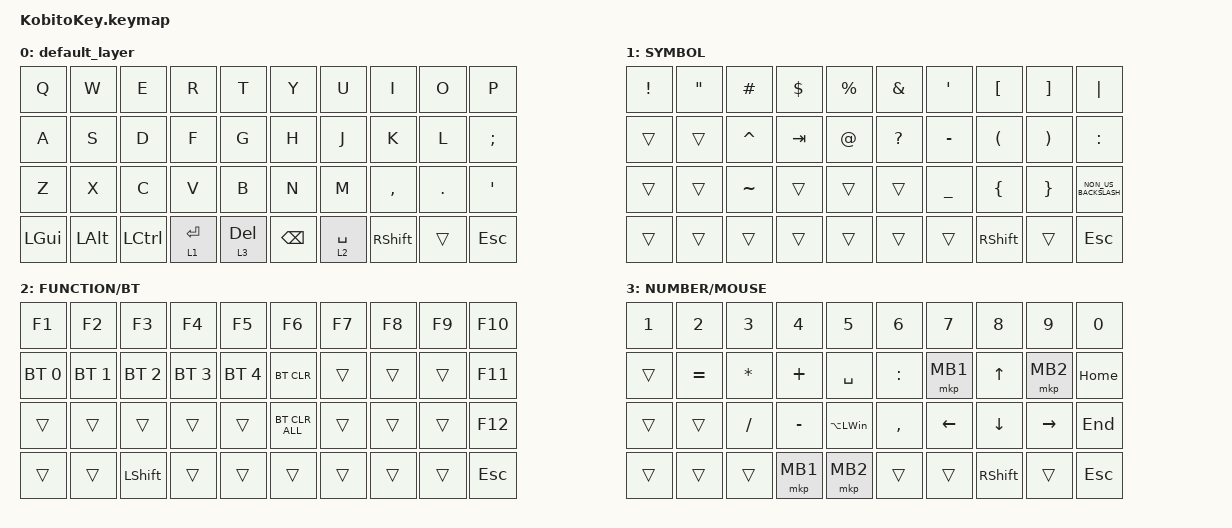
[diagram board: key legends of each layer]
#include <input/processors.dtsi>
#include <behaviors.dtsi>
#include <dt-bindings/zmk/bt.h>
#include <dt-bindings/zmk/keys.h>
#include <dt-bindings/zmk/pointing.h>

/ {
    combos {
        compatible = "zmk,combos";

        combo_eisu {
            timeout-ms = <50>;
            key-positions = <12 13>;
            bindings = <&kp LANG2>;
        };

        combo_kana {
            timeout-ms = <50>;
            key-positions = <16 17>;
            bindings = <&kp LANG1>;
        };

        combo_esc {
            timeout-ms = <50>;
            key-positions = <0 1>;
            bindings = <&kp ESC>;
        };

        combo_tab {
            timeout-ms = <50>;
            key-positions = <10 11>;
            bindings = <&kp TAB>;
        };
    };

    keymap {
        compatible = "zmk,keymap";

        default_layer {
            bindings = <
&kp Q         &kp W     &kp E      &kp R        &kp T         &kp Y     &kp U        &kp I      &kp O    &kp P
&kp A         &kp S     &kp D      &kp F        &kp G         &kp H     &kp J        &kp K      &kp L    &kp SEMI
&kp Z         &kp X     &kp C      &kp V        &kp B         &kp N     &kp M        &kp COMMA  &kp DOT  &kp APOS
&kp LEFT_GUI  &kp LALT  &kp LCTRL  &lt 1 ENTER  &lt 3 DELETE  &kp BSPC  &lt 2 SPACE  &kp RSHFT  &trans   &kp ESCAPE
            >;
        };

        layer1 {
            label = "SYMBOL";
            bindings = <
&kp EXCL  &kp DOUBLE_QUOTES  &kp HASH   &kp DOLLAR  &kp PERCENT  &kp AMPERSAND  &kp SQT         &kp LEFT_BRACKET      &kp RIGHT_BRACKET      &kp PIPE
&trans    &trans             &kp CARET  &kp TAB     &kp AT_SIGN  &kp QUESTION   &kp MINUS       &kp LEFT_PARENTHESIS  &kp RIGHT_PARENTHESIS  &kp COLON
&trans    &trans             &kp TILDE  &trans      &trans       &trans         &kp UNDERSCORE  &kp LEFT_BRACE        &kp RIGHT_BRACE        &kp NON_US_BACKSLASH
&trans    &trans             &trans     &trans      &trans       &trans         &trans          &kp RIGHT_SHIFT       &trans                 &kp ESCAPE
            >;
        };

        layer2 {
            label = "FUNCTION/BT";
            bindings = <
&kp F1        &kp F2        &kp F3          &kp F4        &kp F5        &kp F6          &kp F7  &kp F8  &kp F9  &kp F10
&bt BT_SEL 0  &bt BT_SEL 1  &bt BT_SEL 2    &bt BT_SEL 3  &bt BT_SEL 4  &bt BT_CLR      &trans  &trans  &trans  &kp F11
&trans        &trans        &trans          &trans        &trans        &bt BT_CLR_ALL  &trans  &trans  &trans  &kp F12
&trans        &trans        &kp LEFT_SHIFT  &trans        &trans        &trans          &trans  &trans  &trans  &kp ESCAPE
            >;
        };

        layer3 {
            label = "NUMBER/MOUSE";
            bindings = <
&kp NUMBER_1  &kp NUMBER_2  &kp NUMBER_3  &kp NUMBER_4  &kp N5            &kp NUMBER_6  &kp N7          &kp N8           &kp N9           &kp N0
&trans        &kp EQUAL     &kp ASTERISK  &kp PLUS      &kp SPACE         &kp COLON     &mkp MB1        &kp UP_ARROW     &mkp MB2         &kp HOME
&trans        &trans        &kp SLASH     &kp MINUS     &kp LA(LEFT_WIN)  &kp COMMA     &kp LEFT_ARROW  &kp DOWN_ARROW   &kp RIGHT_ARROW  &kp END
&trans        &trans        &trans        &mkp MB1      &mkp MB2          &trans        &trans          &kp RIGHT_SHIFT  &trans           &kp ESCAPE
            >;
        };
    };
};
